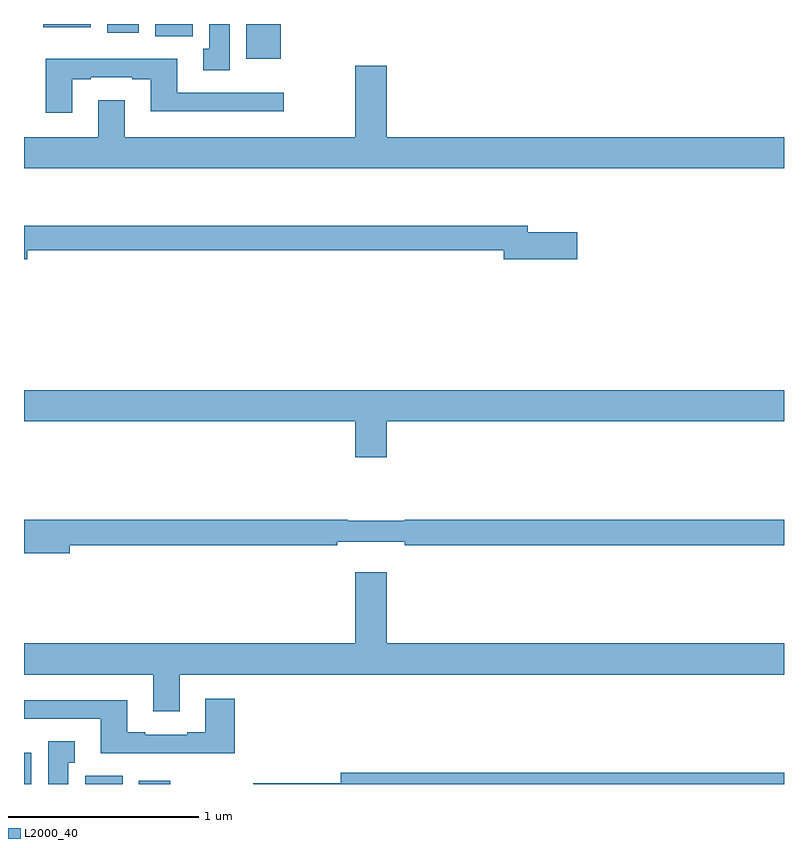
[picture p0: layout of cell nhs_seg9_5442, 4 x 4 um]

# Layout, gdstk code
import gdstk
lib = gdstk.Library(unit=1e-6, precision=1e-09)
def R(c, l, rs):  # rectangles x0, y0, x1, y1
    for r in rs: c.add(gdstk.rectangle(r[:2], r[2:], *l))
def P(c, l, *ps):  # polygons
    for p in ps: c.add(gdstk.Polygon(p, *l))
L2000_40 = (2000, 40)

nhs_seg9_5442 = lib.new_cell('nhs_seg9_5442')
R(nhs_seg9_5442, L2000_40, [(427,1206.5,427.039,1206.664), (427.322,1206.5,427.519,1206.544), (427.604,1206.5,427.771,1206.517), (428.171,1210.316,428.35,1210.5), (427.691,1210.436,427.888,1210.5), (427.439,1210.454,427.603,1210.5), (427.1,1210.484,427.351,1210.5)])
P(nhs_seg9_5442, L2000_40, [(428.083,1210.5),(427.976,1210.5),(427.976,1210.37),(427.943,1210.37),(427.943,1210.257),(428.083,1210.257)],
  [(427.255,1210.209),(427.351,1210.209),(427.351,1210.221),(427.571,1210.221),(427.571,1210.209),(427.667,1210.209),(427.667,1210.04),(428.368,1210.04),(428.368,1210.137),(427.807,1210.137),(427.807,1210.318),(427.115,1210.318),(427.115,1210.032),(427.255,1210.032)],
  [(431,1209.904),(428.908,1209.904),(428.908,1210.279),(428.744,1210.279),(428.744,1209.904),(427.531,1209.904),(427.531,1210.099),(427.391,1210.099),(427.391,1209.904),(427,1209.904),(427,1209.74),(431,1209.74)],
  [(427.018,1209.31),(429.524,1209.31),(429.524,1209.263),(429.913,1209.263),(429.913,1209.405),(429.652,1209.405),(429.652,1209.439),(427,1209.439),(427,1209.263),(427.018,1209.263)],
  [(428.908,1208.408),(431,1208.408),(431,1208.572),(427,1208.572),(427,1208.408),(428.744,1208.408),(428.744,1208.22),(428.908,1208.22)],
  [(427.24,1207.756),(428.648,1207.756),(428.648,1207.775),(429.004,1207.775),(429.004,1207.756),(431,1207.756),(431,1207.892),(429.005,1207.892),(429.005,1207.885),(428.705,1207.885),(428.705,1207.892),(427.001,1207.892),(427.001,1207.856),(427,1207.856),(427,1207.714),(427.24,1207.714)],
  [(427.819,1207.076),(431,1207.076),(431,1207.24),(428.908,1207.24),(428.908,1207.615),(428.744,1207.615),(428.744,1207.24),(427,1207.24),(427,1207.076),(427.679,1207.076),(427.679,1206.882),(427.819,1206.882)],
  [(428.108,1206.949),(427.955,1206.949),(427.955,1206.772),(427.859,1206.772),(427.859,1206.759),(427.639,1206.759),(427.639,1206.772),(427.543,1206.772),(427.543,1206.94),(427,1206.94),(427,1206.843),(427.403,1206.843),(427.403,1206.662),(428.108,1206.662)],
  [(427.234,1206.611),(427.267,1206.611),(427.267,1206.724),(427.127,1206.724),(427.127,1206.5),(427.234,1206.5)],
  [(431,1206.56),(428.667,1206.56),(428.667,1206.503),(428.206,1206.503),(428.206,1206.5),(431,1206.5)])

lib.write_gds('nhs_seg9_5442.gds')
